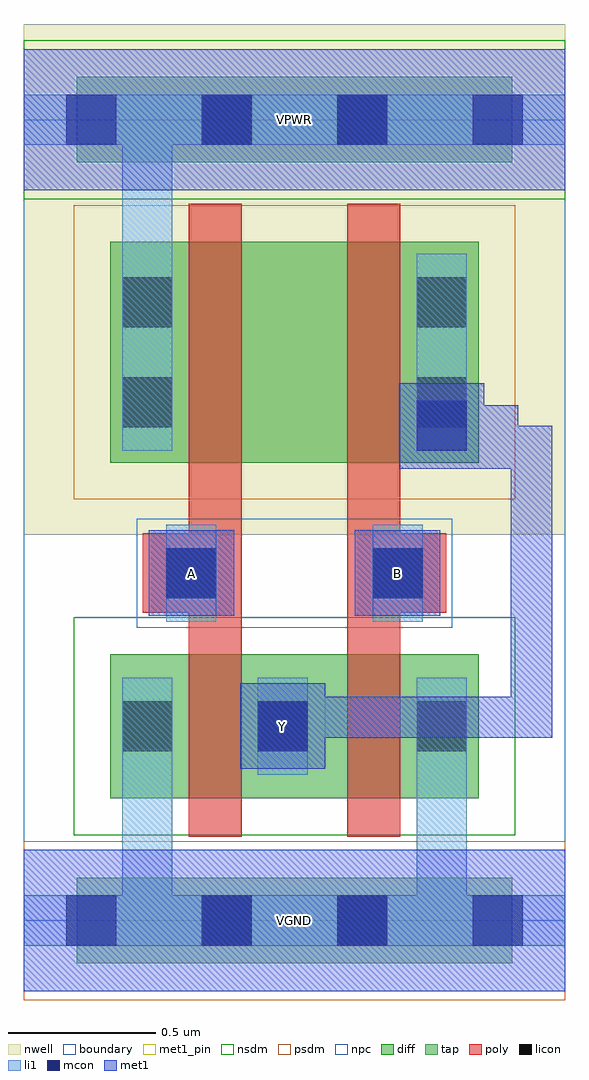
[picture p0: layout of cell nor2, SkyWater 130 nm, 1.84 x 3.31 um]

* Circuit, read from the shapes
.subckt nor2 A B VGND VPWR Y
XM1 Y A VGND VGND sky130_fd_pr__nfet_01v8 w=0.49 l=0.18
XM2 VGND B Y VGND sky130_fd_pr__nfet_01v8 w=0.49 l=0.18
XM3 n1 A VPWR VPWR sky130_fd_pr__pfet_01v8 w=0.75 l=0.18
XM4 Y B n1 VPWR sky130_fd_pr__pfet_01v8 w=0.75 l=0.18
.ends

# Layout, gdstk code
import gdstk
lib = gdstk.Library(unit=1e-6, precision=1e-09)
def R(c, l, rs):  # rectangles x0, y0, x1, y1
    for r in rs: c.add(gdstk.rectangle(r[:2], r[2:], *l))
def A(c, l, x, y, w, h, nx, ny, dx, dy):  # array of equal rectangles
    R(c, l, [(x+i*dx, y+j*dy, x+i*dx+w, y+j*dy+h) for i in range(nx) for j in range(ny)])
nwell = (64, 20)
diff = (65, 20)
tap = (65, 44)
poly = (66, 20)
licon = (66, 44)
li1 = (67, 20)
mcon = (67, 44)
met1_pin = (68, 16)
met1 = (68, 20)
nsdm = (93, 44)
psdm = (94, 20)
npc = (95, 20)
boundary = (235, 4)

nor2 = lib.new_cell('nor2')
R(nor2, nwell, [(0,1.31,1.84,3.045)])
R(nor2, diff, [(0.295,0.415,1.545,0.905), (0.295,1.555,1.545,2.305)])
R(nor2, tap, [(0.18,-0.145,1.66,0.145), (0.18,2.575,1.66,2.865)])
R(nor2, poly, [(0.56,0.285,0.74,2.435), (1.1,0.285,1.28,2.435), (0.405,1.045,0.735,1.315), (1.105,1.045,1.435,1.315)])
R(nor2, licon, [(0.605,-0.085,0.775,0.085), (1.065,-0.085,1.235,0.085), (0.335,0.575,0.505,0.745), (0.795,0.575,0.965,0.745), (1.335,0.575,1.505,0.745), (0.485,1.095,0.655,1.265), (1.185,1.095,1.355,1.265), (0.335,1.675,0.505,1.845), (1.335,1.675,1.505,1.845), (0.335,2.015,0.505,2.185), (1.335,2.015,1.505,2.185), (0.605,2.635,0.775,2.805), (1.065,2.635,1.235,2.805)])
R(nor2, li1, [(0,-0.085,1.84,0.085), (0.335,-0.085,0.505,0.825), (1.335,-0.085,1.505,0.825), (0.335,0.495,0.505,0.825), (0.795,0.495,0.965,0.825), (1.335,0.495,1.505,0.825), (0.485,1.015,0.655,1.345), (1.185,1.015,1.355,1.345), (0.335,1.595,0.505,2.265), (0.335,1.595,0.505,2.805), (1.335,1.595,1.505,2.265), (0,2.635,1.84,2.805)])
A(nor2, mcon, 0.145, -0.085, 0.17, 0.17, 4, 2, 0.46, 2.72)
R(nor2, mcon, [(0.795,0.575,0.965,0.745), (0.485,1.095,0.655,1.265), (1.185,1.095,1.355,1.265), (1.335,1.595,1.505,1.765)])
R(nor2, met1_pin, [(0,-0.24,1.84,0.24), (0.735,0.515,1.025,0.805), (0.425,1.035,0.715,1.325), (1.125,1.035,1.415,1.325), (0,2.48,1.84,2.96)])
R(nor2, met1, [(0,-0.24,1.84,0.24), (0.735,0.515,1.025,0.805), (0.85,0.62,0.99,0.76), (0.85,0.62,1.795,0.76), (1.655,0.62,1.795,1.68), (0.425,1.035,0.715,1.325), (1.125,1.035,1.415,1.325), (1.275,1.535,1.565,1.825), (1.565,1.535,1.655,1.68), (1.565,1.535,1.655,1.68), (1.565,1.535,1.655,1.68), (1.565,1.535,1.655,1.68), (1.565,1.535,1.655,1.68), (1.565,1.535,1.655,1.68), (1.54,1.54,1.68,1.75), (1.54,1.54,1.795,1.68), (1.35,1.61,1.68,1.75), (0,2.48,1.84,2.96)])
R(nor2, nsdm, [(0.17,0.29,1.67,1.03), (0,2.45,1.84,2.99)])
R(nor2, psdm, [(0,-0.27,1.84,0.27), (0.17,1.43,1.67,2.43)])
R(nor2, npc, [(0.385,0.995,1.455,1.365)])
R(nor2, boundary, [(0,0,1.84,2.72)])
nor2.add(gdstk.Label('A', (0.57,1.18), layer=68, texttype=5))
nor2.add(gdstk.Label('B', (1.27,1.18), layer=68, texttype=5))
nor2.add(gdstk.Label('Y', (0.88,0.66), layer=68, texttype=5))
nor2.add(gdstk.Label('VPWR', (0.92,2.72), layer=68, texttype=5))
nor2.add(gdstk.Label('VGND', (0.92,0), layer=68, texttype=5))
nor2.add(gdstk.Label('A', (0.57,1.18), layer=68, texttype=16))
nor2.add(gdstk.Label('B', (1.27,1.18), layer=68, texttype=16))
nor2.add(gdstk.Label('Y', (0.88,0.66), layer=68, texttype=16))
nor2.add(gdstk.Label('VPWR', (0.92,2.72), layer=68, texttype=16))
nor2.add(gdstk.Label('VGND', (0.92,0), layer=68, texttype=16))

lib.write_gds('nor2.gds')
